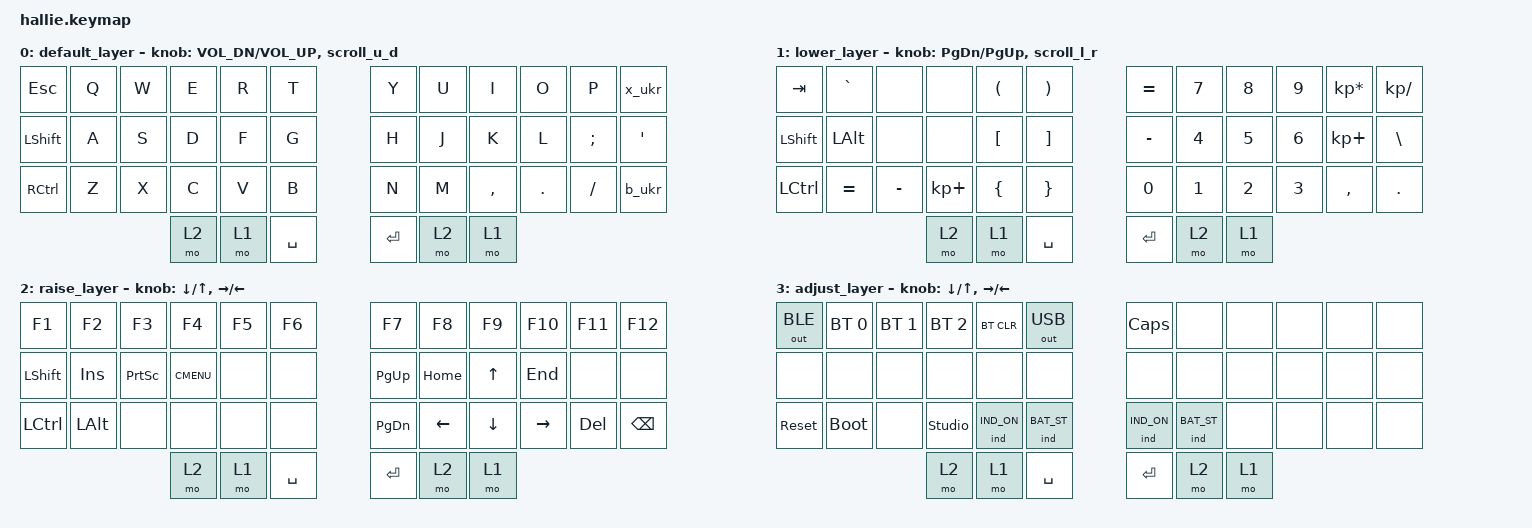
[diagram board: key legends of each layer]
#undef ZMK_BEHAVIORS_KEEP_ALL

#define ZMK_BEHAVIORS_KEEP_IND
#define ZMK_BEHAVIORS_KEEP_BT
#define ZMK_BEHAVIORS_KEEP_GRESC
#define ZMK_BEHAVIORS_KEEP_SYS_RESET
#define ZMK_BEHAVIORS_KEEP_BOOTLOADER
#define ZMK_BEHAVIORS_KEEP_CAPS_WORD
#define ZMK_BEHAVIORS_KEEP_KEY_REPEAT
#define ZMK_BEHAVIORS_KEEP_KT
#define ZMK_BEHAVIORS_KEEP_LT
#define ZMK_BEHAVIORS_KEEP_MT
#define ZMK_BEHAVIORS_KEEP_SK
#define ZMK_BEHAVIORS_KEEP_STICKY_LAYER
#define ZMK_BEHAVIORS_KEEP_TO
#define ZMK_BEHAVIORS_KEEP_TOG
#define ZMK_BEHAVIORS_KEEP_TRANS

#include <behaviors/indicators.dtsi>
#include <dt-bindings/zmk/indicators.h>
#include <behaviors.dtsi>
#include <dt-bindings/zmk/bt.h>
#include <dt-bindings/zmk/keys.h>
#include <dt-bindings/zmk/outputs.h>

#define DEF 0
#define LWR 1
#define RSE 2
#define ADJ 3

&lt { quick_tap_ms = <200>; };

&mt { quick_tap_ms = <200>; };

/ {
    combos {
        compatible = "zmk,combos";

        In3 {
            bindings = <&mo 3>;
            key-positions = <37 40>;
        };

        win {
            bindings = <&kp LEFT_WIN>;
            key-positions = <36 37>;
        };
    };

    macros {
        x_ukr: x_ukr {
            compatible = "zmk,behavior-macro";
            #binding-cells = <0>;
            bindings = <&kp CAPSLOCK &kp LEFT_BRACE &kp CAPSLOCK>;
            label = "X_UKR";
        };

        b_ukr: b_ukr {
            compatible = "zmk,behavior-macro";
            #binding-cells = <0>;
            bindings = <&kp CAPSLOCK &kp RIGHT_BRACE &kp CAPSLOCK>;
            label = "B_UKR";
        };
    };

    keymap {
        compatible = "zmk,keymap";

        default_layer {
            bindings = <
&kp ESC         &kp Q  &kp W  &kp E  &kp R  &kp T        &kp Y      &kp U  &kp I      &kp O    &kp P      &x_ukr
&kp LEFT_SHIFT  &kp A  &kp S  &kp D  &kp F  &kp G        &kp H      &kp J  &kp K      &kp L    &kp SEMI   &kp SQT
&kp RCTRL       &kp Z  &kp X  &kp C  &kp V  &kp B        &kp N      &kp M  &kp COMMA  &kp DOT  &kp SLASH  &b_ukr
                              &mo 2  &mo 1  &kp SPACE    &kp ENTER  &mo 2  &mo 1
            >;

            sensor-bindings = <&inc_dec_kp C_VOL_DN C_VOL_UP &scroll_u_d>;
        };

        lower_layer {
            bindings = <
&kp TAB         &kp GRAVE     &none      &none        &kp LEFT_PARENTHESIS  &kp RIGHT_PARENTHESIS    &kp EQUAL  &kp N7  &kp N8  &kp N9  &kp KP_MULTIPLY  &kp KP_DIVIDE
&kp LEFT_SHIFT  &kp LEFT_ALT  &none      &none        &kp LBKT              &kp RBKT                 &kp MINUS  &kp N4  &kp N5  &kp N6  &kp KP_PLUS      &kp BACKSLASH
&kp LCTRL       &kp EQUAL     &kp MINUS  &kp KP_PLUS  &kp LBRC              &kp RBRC                 &kp N0     &kp N1  &kp N2  &kp N3  &kp COMMA        &kp DOT
                                         &mo 2        &mo 1                 &kp SPACE                &kp ENTER  &mo 2   &mo 1
            >;

            sensor-bindings = <&inc_dec_kp PG_DN PG_UP &scroll_l_r>;
        };

        raise_layer {
            bindings = <
&kp F1          &kp F2        &kp F3     &kp F4       &kp F5  &kp F6       &kp F7     &kp F8    &kp F9    &kp F10    &kp F11  &kp F12
&kp LEFT_SHIFT  &kp INS       &kp PSCRN  &kp K_CMENU  &none   &none        &kp PG_UP  &kp HOME  &kp UP    &kp END    &none    &none
&kp LCTRL       &kp LEFT_ALT  &none      &none        &none   &none        &kp PG_DN  &kp LEFT  &kp DOWN  &kp RIGHT  &kp DEL  &kp BSPC
                                         &mo 2        &mo 1   &kp SPACE    &kp ENTER  &mo 2     &mo 1
            >;

            sensor-bindings = <&inc_dec_kp DOWN_ARROW UP_ARROW &inc_dec_kp RIGHT_ARROW LEFT_ARROW>;
        };

        adjust_layer {
            bindings = <
&out OUT_BLE  &bt BT_SEL 0  &bt BT_SEL 1  &bt BT_SEL 2    &bt BT_CLR   &out OUT_USB    &kp CAPSLOCK  &none        &none  &none  &none  &none
&none         &none         &none         &none           &none        &none           &none         &none        &none  &none  &none  &none
&sys_reset    &bootloader   &none         &studio_unlock  &ind IND_ON  &ind BAT_ST     &ind IND_ON   &ind BAT_ST  &none  &none  &none  &none
                                          &mo 2           &mo 1        &kp SPACE       &kp ENTER     &mo 2        &mo 1
            >;

            sensor-bindings = <&inc_dec_kp DOWN_ARROW UP_ARROW &inc_dec_kp RIGHT_ARROW LEFT_ARROW>;
        };
    };
};
